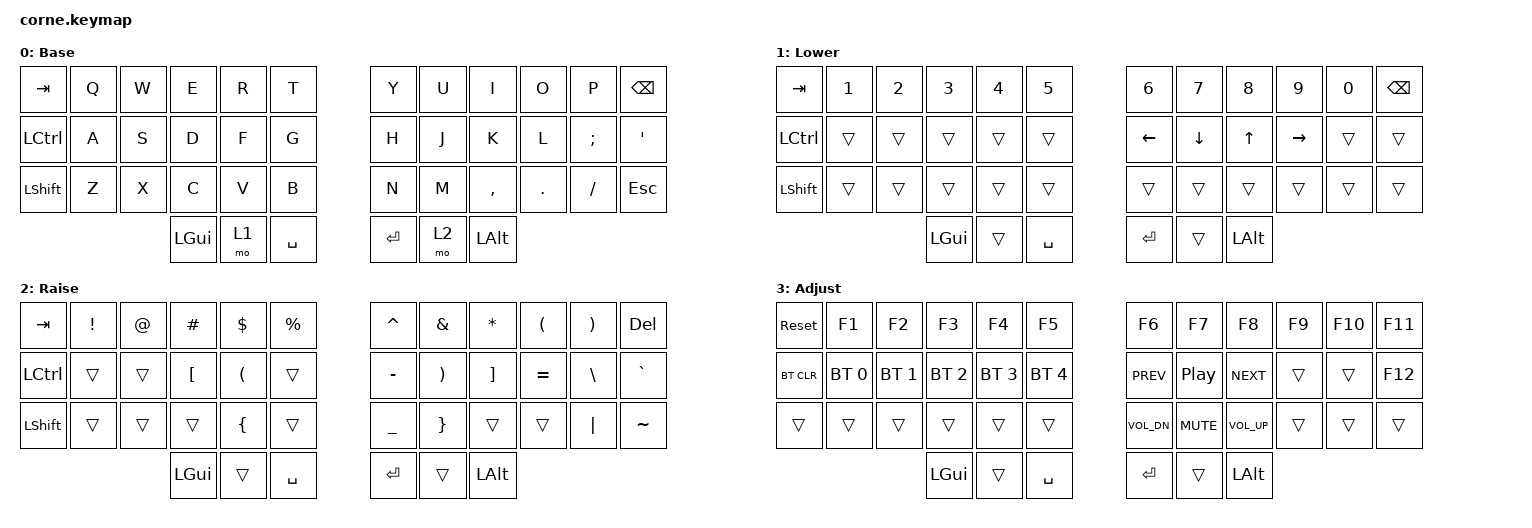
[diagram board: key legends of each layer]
/*
 * Copyright (c) 2020 The ZMK Contributors
 *
 * SPDX-License-Identifier: MIT
 */

#include <behaviors.dtsi>
#include <dt-bindings/zmk/keys.h>
#include <dt-bindings/zmk/bt.h>

/ {
        conditional_layers {
                compatible = "zmk,conditional-layers";
                tri_layer {
                        if-layers = <1 2>;
                        then-layer = <3>;
                };
        };

        keymap {
                compatible = "zmk,keymap";

                default_layer {
// -----------------------------------------------------------------------------------------
// |  TAB |  Q  |  W  |  E  |  R  |  T  |   |  Y  |  U   |  I  |  O  |  P  | BKSP |
// | CTRL |  A  |  S  |  D  |  F  |  G  |   |  H  |  J   |  K  |  L  |  ;  |  '   |
// | SHFT |  Z  |  X  |  C  |  V  |  B  |   |  N  |  M   |  ,  |  .  |  /  | ESC  |
//                    | GUI | LWR | SPC |   | ENT | RSE  | ALT |
                        display-name = "Base";
                        bindings = <
   &kp TAB   &kp Q &kp W &kp E &kp R &kp T   &kp Y &kp U  &kp I     &kp O   &kp P    &kp BSPC
   &kp LCTRL &kp A &kp S &kp D &kp F &kp G   &kp H &kp J  &kp K     &kp L   &kp SEMI &kp SQT
   &kp LSHFT &kp Z &kp X &kp C &kp V &kp B   &kp N &kp M  &kp COMMA &kp DOT &kp FSLH &kp ESC
                  &kp LGUI &mo 1 &kp SPACE   &kp RET &mo 2 &kp LALT
                        >;
                };

                lower_layer {
// -----------------------------------------------------------------------------------------
// |  TAB |  1  |  2  |  3  |  4  |  5  |   |  6  |  7  |  8  |  9  |  0  | BKSP |
// | CTRL |     |     |     |     |     |   | LFT | DWN |  UP | RGT |     |      |
// | SHFT |     |     |     |     |     |   |     |     |     |     |     |      |
//                    | GUI |     | SPC |   | ENT |     | ALT |
                        display-name = "Lower";
                        bindings = <
   &kp TAB   &kp N1 &kp N2 &kp N3 &kp N4 &kp N5   &kp N6   &kp N7   &kp N8 &kp N9    &kp N0 &kp BSPC
   &kp LCTRL &trans &trans &trans &trans &trans    &kp LEFT &kp DOWN &kp UP &kp RIGHT &trans &trans
   &kp LSHFT &trans &trans &trans &trans &trans    &trans   &trans   &trans &trans    &trans &trans
                          &kp LGUI &trans &kp SPACE   &kp RET &trans &kp LALT
                        >;
                };

                raise_layer {
// -----------------------------------------------------------------------------------------
// |  TAB |  !  |  @  |  #  |  $  |  %  |   |  ^  |  &  |  *  |  (  |  )  | DEL  |
// | CTRL |     |     |  [  |  (  |     |   |  -  |  )  |  ]  |  =  |  \  |  `   |
// | SHFT |     |     |     |  {  |     |   |  _  |  }  |     |     |  |  |  ~   |
//                    | GUI |     | SPC |   | ENT |     | ALT |
                        display-name = "Raise";
                        bindings = <
   &kp TAB   &kp EXCL &kp AT &kp HASH &kp DLLR &kp PRCNT   &kp CARET &kp AMPS &kp ASTRK &kp LPAR &kp RPAR &kp DEL
   &kp LCTRL &trans   &trans &kp LBKT &kp LPAR &trans      &kp MINUS &kp RPAR &kp RBKT  &kp EQUAL &kp BSLH &kp GRAVE
   &kp LSHFT &trans   &trans &trans   &kp LBRC &trans      &kp UNDER &kp RBRC &trans    &trans   &kp PIPE  &kp TILDE
                             &kp LGUI &trans   &kp SPACE   &kp RET   &trans   &kp LALT
                        >;
                };

                adjust_layer {
// -----------------------------------------------------------------------------------------
// | RST  |  F1 |  F2 |  F3 |  F4 |  F5 |   |  F6 |  F7 |  F8 |  F9 | F10 | F11  |
// |BTCLR | BT0 | BT1 | BT2 | BT3 | BT4 |   |MPRV |MPLY |MNXT |     |     | F12  |
// |      |     |     |     |     |     |   |VOLD |MUTE |VOLU |     |     |      |
//                    | GUI |     | SPC |   | ENT |     | ALT |
                        display-name = "Adjust";
                        bindings = <
   &sys_reset &kp F1       &kp F2       &kp F3       &kp F4       &kp F5         &kp F6       &kp F7           &kp F8       &kp F9 &kp F10 &kp F11
   &bt BT_CLR &bt BT_SEL 0 &bt BT_SEL 1 &bt BT_SEL 2 &bt BT_SEL 3 &bt BT_SEL 4   &kp C_PREV   &kp C_PLAY_PAUSE &kp C_NEXT   &trans &trans  &kp F12
   &trans     &trans       &trans       &trans       &trans       &trans         &kp C_VOL_DN &kp C_MUTE       &kp C_VOL_UP &trans &trans  &trans
                                        &kp LGUI     &trans       &kp SPACE      &kp RET      &trans           &kp LALT
                        >;
                };
        };
};
